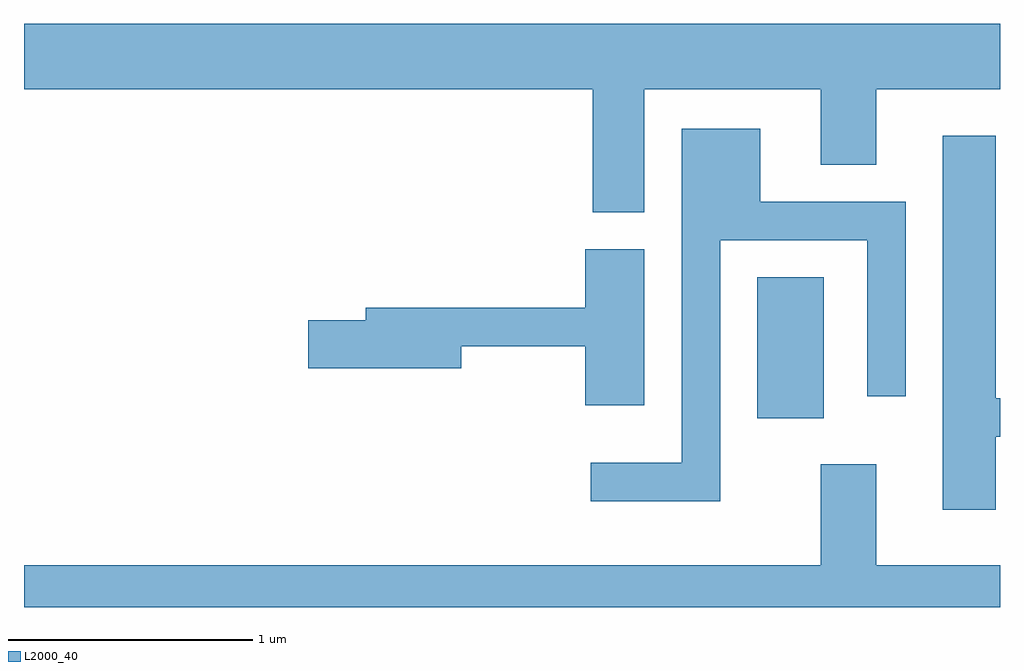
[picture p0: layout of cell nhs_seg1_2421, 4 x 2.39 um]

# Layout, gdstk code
import gdstk
lib = gdstk.Library(unit=1e-6, precision=1e-09)
def R(c, l, rs):  # rectangles x0, y0, x1, y1
    for r in rs: c.add(gdstk.rectangle(r[:2], r[2:], *l))
def P(c, l, *ps):  # polygons
    for p in ps: c.add(gdstk.Polygon(p, *l))
L2000_40 = (2000, 40)

nhs_seg1_2421 = lib.new_cell('nhs_seg1_2421')
R(nhs_seg1_2421, L2000_40, [(262.616,860.486,262.889,861.064)])
P(nhs_seg1_2421, L2000_40, [(262.154,861.836),(262.876,861.836),(262.876,861.526),(263.104,861.526),(263.104,861.836),(263.611,861.836),(263.611,862.104),(259.611,862.104),(259.611,861.836),(261.941,861.836),(261.941,861.331),(262.154,861.331)],
  [(262.464,861.216),(263.066,861.216),(263.066,860.578),(263.224,860.578),(263.224,861.374),(262.629,861.374),(262.629,861.674),(262.306,861.674),(262.306,860.304),(261.933,860.304),(261.933,860.146),(262.464,860.146)],
  [(263.594,860.411),(263.611,860.411),(263.611,860.569),(263.594,860.569),(263.594,861.644),(263.376,861.644),(263.376,860.111),(263.594,860.111)],
  [(262.154,861.179),(261.911,861.179),(261.911,860.939),(261.011,860.939),(261.011,860.889),(260.776,860.889),(260.776,860.691),(261.404,860.691),(261.404,860.781),(261.911,860.781),(261.911,860.541),(262.154,860.541)],
  [(263.611,859.884),(263.104,859.884),(263.104,860.299),(262.876,860.299),(262.876,859.884),(259.611,859.884),(259.611,859.712),(263.611,859.712)])

lib.write_gds('nhs_seg1_2421.gds')
